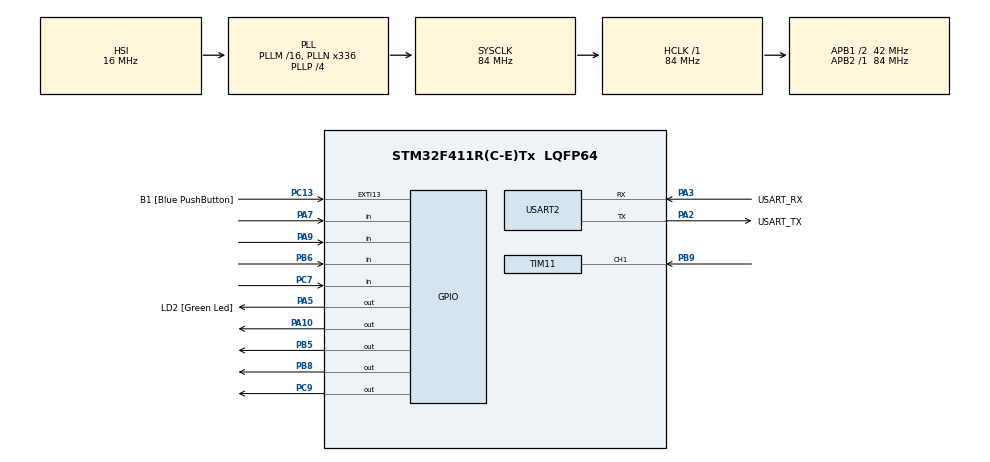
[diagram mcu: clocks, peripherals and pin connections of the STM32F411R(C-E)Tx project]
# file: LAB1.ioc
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Mcu.Family=STM32F4
Mcu.Name=STM32F411R(C-E)Tx
Mcu.Package=LQFP64
NVIC.PriorityGroup=NVIC_PRIORITYGROUP_0
NVIC.TIM2_IRQn=true\:0\:0\:false\:false\:true\:false\:true\:true
NVIC.TimeBase=TIM2_IRQn
NVIC.TimeBaseIP=TIM2
PA10.GPIO_ModeDefaultOutputPP=GPIO_MODE_OUTPUT_OD
PA10.GPIO_PuPd=GPIO_NOPULL
PA10.Signal=GPIO_Output
PA13.GPIO_Label=TMS
PA13.Mode=Serial_Wire
PA13.Signal=SYS_JTMS-SWDIO
PA14.GPIO_Label=TCK
PA14.Mode=Serial_Wire
PA14.Signal=SYS_JTCK-SWCLK
PA2.GPIO_Label=USART_TX
PA2.Mode=Asynchronous
PA2.Signal=USART2_TX
PA3.GPIO_Label=USART_RX
PA3.Mode=Asynchronous
PA3.Signal=USART2_RX
PA5.GPIO_Label=LD2 [Green Led]
PA5.Signal=GPIO_Output
PA7.GPIO_PuPd=GPIO_PULLUP
PA7.Signal=GPIO_Input
PA9.GPIO_PuPd=GPIO_PULLUP
PA9.Signal=GPIO_Input
PB3.Signal=SYS_JTDO-SWO
PB5.GPIO_ModeDefaultOutputPP=GPIO_MODE_OUTPUT_OD
PB5.GPIO_PuPd=GPIO_NOPULL
PB5.Signal=GPIO_Output
PB6.GPIO_PuPd=GPIO_PULLUP
PB6.Signal=GPIO_Input
PB8.GPIO_ModeDefaultOutputPP=GPIO_MODE_OUTPUT_OD
PB8.GPIO_PuPd=GPIO_NOPULL
PB8.Signal=GPIO_Output
PB9.Signal=S_TIM11_CH1
PC13-ANTI_TAMP.GPIO_Label=B1 [Blue PushButton]
PC13-ANTI_TAMP.GPIO_ModeDefaultEXTI=GPIO_MODE_IT_FALLING
PC13-ANTI_TAMP.Signal=GPXTI13
PC14-OSC32_IN.Mode=LSE-External-Oscillator
PC14-OSC32_IN.Signal=RCC_OSC32_IN
PC15-OSC32_OUT.Mode=LSE-External-Oscillator
PC15-OSC32_OUT.Signal=RCC_OSC32_OUT
PC7.GPIO_PuPd=GPIO_PULLUP
PC7.Signal=GPIO_Input
PC9.GPIO_ModeDefaultOutputPP=GPIO_MODE_OUTPUT_OD
PC9.GPIO_PuPd=GPIO_NOPULL
PC9.Signal=GPIO_Output
PH0\ -\ OSC_IN.Mode=HSE-External-Clock-Source
PH0\ -\ OSC_IN.Signal=RCC_OSC_IN
PH1\ -\ OSC_OUT.Mode=HSE-External-Clock-Source
PH1\ -\ OSC_OUT.Signal=RCC_OSC_OUT
ProjectManager.HeapSize=0x200
ProjectManager.StackSize=0x400
ProjectManager.TargetToolchain=STM32CubeIDE
RCC.48MHZClocksFreq_Value=84000000
RCC.AHBFreq_Value=84000000
RCC.APB1CLKDivider=RCC_HCLK_DIV2
RCC.APB1Freq_Value=42000000
RCC.APB1TimFreq_Value=84000000
RCC.APB2Freq_Value=84000000
RCC.APB2TimFreq_Value=84000000
RCC.CortexFreq_Value=84000000
RCC.FLatency-AdvancedSettings=FLASH_LATENCY_2
RCC.HCLKFreq_Value=84000000
RCC.HSE_VALUE=8000000
RCC.HSI_VALUE=16000000
RCC.PLLN=336
RCC.PLLP=RCC_PLLP_DIV4
RCC.RCC_RTC_Clock_Source=RCC_RTCCLKSOURCE_LSI
RCC.RCC_RTC_Clock_SourceVirtual=RCC_RTCCLKSOURCE_LSI
RCC.SYSCLKFreq_VALUE=84000000
RCC.SYSCLKSource=RCC_SYSCLKSOURCE_PLLCLK
RCC.VCOOutputFreq_Value=336000000
SH.S_TIM11_CH1.0=TIM11_CH1,Input_Capture1_from_TI1
TIM11.Channel=TIM_CHANNEL_1
USART2.VirtualMode=VM_ASYNC
VP_SYS_VS_tim2.Mode=TIM2
VP_TIM11_VS_ClockSourceINT.Mode=Enable_Timer
board=NUCLEO-F411RE

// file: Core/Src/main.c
/* USER CODE BEGIN Header */
/**
  ******************************************************************************
  * @file           : main.c
  * @brief          : Main program body
  ******************************************************************************
  * @attention
  *
  * Copyright (c) 2023 STMicroelectronics.
  * All rights reserved.
  *
  * This software is licensed under terms that can be found in the LICENSE file
  * in the root directory of this software component.
  * If no LICENSE file comes with this software, it is provided AS-IS.
  *
  ******************************************************************************
  */
/* USER CODE END Header */
#include "main.h"

TIM_HandleTypeDef htim11;

UART_HandleTypeDef huart2;

/* USER CODE BEGIN PV */

static int b[16];
static int bp[16];

GPIO_PinState HIGH = 1;
GPIO_PinState LOW = 0;

static int b_state_curr,b_state_last;

static uint32_t timestamp = 100;

//fix_init

void   set(int x){switch(x){case 0:HAL_GPIO_WritePin(GPIOA,GPIO_PIN_10,HIGH);break;		//R1
							case 1:HAL_GPIO_WritePin(GPIOC,GPIO_PIN_9 ,HIGH);break;		//R2
							case 2:HAL_GPIO_WritePin(GPIOB,GPIO_PIN_5 ,HIGH);break;		//R3
							case 3:HAL_GPIO_WritePin(GPIOB,GPIO_PIN_8 ,HIGH);break;}	//R4
}

void reset(int x){switch(x){case 0:HAL_GPIO_WritePin(GPIOA,GPIO_PIN_10,LOW);break;		//R1
							case 1:HAL_GPIO_WritePin(GPIOC,GPIO_PIN_9 ,LOW);break;		//R2
							case 2:HAL_GPIO_WritePin(GPIOB,GPIO_PIN_5 ,LOW);break;		//R3
							case 3:HAL_GPIO_WritePin(GPIOB,GPIO_PIN_8 ,LOW);break;}		//R4
}

//fix_end

int get_readButton(){
	for(int i =0;i<16;i++){
		if(b[i] == 0){
			return i;
		}
	}
	return 99;
}

int get_savedButton(){
	for(int i =0;i<16;i++){
		if(bp[i] == 0){
			return i;
		}
	}
	return 99;
}

void readButton(){
	static int x = 0;
	b_state_curr = 0;

	b[(x*4)  ]   = HAL_GPIO_ReadPin(GPIOA,GPIO_PIN_9); //L1
	b[(x*4)+1]   = HAL_GPIO_ReadPin(GPIOC,GPIO_PIN_7); //L2
	b[(x*4)+2]   = HAL_GPIO_ReadPin(GPIOB,GPIO_PIN_6); //L3
	b[(x*4)+3]   = HAL_GPIO_ReadPin(GPIOA,GPIO_PIN_7); //L4

	x++;
	x = x % 4;

	if(get_readButton() != 99){b_state_curr = 1;}

}

void statecheck(){

	  static int state = 0;
	  static int fault = 0;
	  static int faultState = 0;

	  switch(state){
	  case 0:	//non pressed
		  	  HAL_GPIO_WritePin(GPIOA,GPIO_PIN_5,0);
			  if(get_savedButton() == 9){state++;}
			  else if(get_savedButton() == 12){state=0;}
			  else if(get_savedButton() == 99){state=0;}
			  else{state = 99;fault++;faultState=0;}
			  break;
	  case 1:	// 6
			  if(get_savedButton() == 1){state++;}
			  else if(get_savedButton() == 12){state=0;}
			  else if(get_savedButton() == 13){state--;}
			  else if(get_savedButton() == 99){state=1;}
			  else{state = 99;fault++;faultState=1;}
			  break;
	  case 2:	// 64
			  if(get_savedButton() == 10){state++;}
			  else if(get_savedButton() == 12){state=0;}
			  else if(get_savedButton() == 13){state--;}
			  else if(get_savedButton() == 99){state=2;}
			  else{state = 99;fault++;faultState=2;}
			  break;
	  case 3:	// 643
			  if(get_savedButton() == 1){state++;}
			  else if(get_savedButton() == 12){state=0;}
			  else if(get_savedButton() == 13){state--;}
			  else if(get_savedButton() == 99){state=3;}
			  else{state = 99;fault++;faultState=3;}
			  break;
	  case 4:	// 6434
			  if(get_savedButton() == 3){state++;}
			  else if(get_savedButton() == 12){state=0;}
			  else if(get_savedButton() == 13){state--;}
			  else if(get_savedButton() == 99){state=4;}
			  else{state = 99;fault++;faultState=4;}
			  break;
	  case 5:	// 64340
			  if(get_savedButton() == 5){state++;}
			  else if(get_savedButton() == 12){state=0;}
			  else if(get_savedButton() == 13){state--;}
			  else if(get_savedButton() == 99){state=5;}
			  else{state = 99;fault++;faultState=5;}
			  break;
	  case 6:	//643405
			  if(get_savedButton() == 3){state++;}
			  else if(get_savedButton() == 12){state=0;}
			  else if(get_savedButton() == 13){state--;}
			  else if(get_savedButton() == 99){state=6;}
			  else{state = 99;fault++;faultState=6;}
			  break;
	  case 7:	//6434050
			  if(get_savedButton() == 3){state++;}
			  else if(get_savedButton() == 12){state=0;}
			  else if(get_savedButton() == 13){state--;}
			  else if(get_savedButton() == 99){state=7;}
			  else{state = 99;fault++;faultState=7;}
			  break;
	  case 8:	//64340500
			  if(get_savedButton() == 3){state++;}
			  else if(get_savedButton() == 12){state=0;}
			  else if(get_savedButton() == 13){state--;}
			  else if(get_savedButton() == 99){state=8;}
			  else{state = 99;fault++;faultState=8;}
			  break;
	  case 9:	//643405000
			  if(get_savedButton() == 5){state++;}
			  else if(get_savedButton() == 12){state=0;}
			  else if(get_savedButton() == 13){state--;}
			  else if(get_savedButton() == 99){state=9;}
			  else{state = 99;fault++;faultState=9;}
			  break;
	  case 10:	//6434050005
			  if(get_savedButton() == 2){state++;}
			  else if(get_savedButton() == 12){state=0;}
			  else if(get_savedButton() == 13){state--;}
			  else if(get_savedButton() == 99){state=10;}
			  else{state = 99;fault++;faultState=10;}
			  break;
	  case 11:	//64340500051
			  if(get_savedButton() == 15){HAL_GPIO_WritePin(GPIOA,GPIO_PIN_5,1);state++;}
			  else if(get_savedButton() == 12){state=0;}
			  else if(get_savedButton() == 13){state--;}
			  else if(get_savedButton() == 99){state=11;}
			  else{state = 99;fault++;faultState=11;}
			  break;
	  case 12: //64340500051 OK
	  	  if(get_savedButton() == 99){state=12;}
	  	  else if(get_savedButton() == 12){HAL_GPIO_WritePin(GPIOA,GPIO_PIN_5,0);state=0;}
	  	  break;
	  case 99:
		  if(get_savedButton() == 12){state=0;fault=0;}
		  if(get_savedButton() == 13){fault--;}
		  else{fault++;}

		  if(fault == 0){
			  state = faultState;
		  }

		  break;
	  }

}

void saveButton(){
	for(int i=0;i<16;i++){
		bp[i] = b[i];
	}
}
//void b_to_16(){}

/* USER CODE END PV */

void SystemClock_Config(void);
static void MX_GPIO_Init(void);
static void MX_USART2_UART_Init(void);
static void MX_TIM11_Init(void);

int main(void)
{
  /* USER CODE BEGIN 1 */

	static int process = 0;

  /* USER CODE END 1 */

  /* MCU Configuration--------------------------------------------------------*/

  /* Reset of all peripherals, Initializes the Flash interface and the Systick. */
  HAL_Init();

  /* Configure the system clock */
  SystemClock_Config();

  /* Initialize all configured peripherals */
  MX_GPIO_Init();
  MX_USART2_UART_Init();
  MX_TIM11_Init();

  /* Infinite loop */
  /* USER CODE BEGIN WHILE */

  b[100] = 0;
  bp[100] = 0;

  while (1)
  {
	  if(HAL_GetTick()>timestamp){
		  timestamp = HAL_GetTick()+10;

		  switch(process){
		  case 0:
			  reset(0);
			  readButton();
			  set(0);
			  reset(1);
			  process = 1;
			  break;

		  case 1:
		  	  readButton();
		      set(1);
		  	  reset(2);
		  	  process = 2;
		  	  break;

		  case 2:
		  	  readButton();
		      set(2);
		  	  reset(3);
		  	  process = 3;
		  	  break;

	  	  case 3:
	  		  readButton();
	  		  set(3);
	  		  reset(0);

	  		  if(b_state_curr == 1 && b_state_last == 0){
	  			  saveButton();
	  			  statecheck();
	  		  }

	  		  b_state_last = b_state_curr;
	  		  process = 0;
	  		  break;
		  }

	  }
  }

    /* USER CODE END WHILE */

}

void SystemClock_Config(void)
{
  RCC_OscInitTypeDef RCC_OscInitStruct = {0};
  RCC_ClkInitTypeDef RCC_ClkInitStruct = {0};

  /** Configure the main internal regulator output voltage
  */
  __HAL_RCC_PWR_CLK_ENABLE();
  __HAL_PWR_VOLTAGESCALING_CONFIG(PWR_REGULATOR_VOLTAGE_SCALE1);

  /** Initializes the RCC Oscillators according to the specified parameters
  * in the RCC_OscInitTypeDef structure.
  */
  RCC_OscInitStruct.OscillatorType = RCC_OSCILLATORTYPE_HSI|RCC_OSCILLATORTYPE_HSE;
  RCC_OscInitStruct.HSEState = RCC_HSE_BYPASS;
  RCC_OscInitStruct.HSIState = RCC_HSI_ON;
  RCC_OscInitStruct.HSICalibrationValue = RCC_HSICALIBRATION_DEFAULT;
  RCC_OscInitStruct.PLL.PLLState = RCC_PLL_ON;
  RCC_OscInitStruct.PLL.PLLSource = RCC_PLLSOURCE_HSI;
  RCC_OscInitStruct.PLL.PLLM = 16;
  RCC_OscInitStruct.PLL.PLLN = 336;
  RCC_OscInitStruct.PLL.PLLP = RCC_PLLP_DIV4;
  RCC_OscInitStruct.PLL.PLLQ = 4;
  if (HAL_RCC_OscConfig(&RCC_OscInitStruct) != HAL_OK)
  {
    Error_Handler();
  }

  /** Initializes the CPU, AHB and APB buses clocks
  */
  RCC_ClkInitStruct.ClockType = RCC_CLOCKTYPE_HCLK|RCC_CLOCKTYPE_SYSCLK
                              |RCC_CLOCKTYPE_PCLK1|RCC_CLOCKTYPE_PCLK2;
  RCC_ClkInitStruct.SYSCLKSource = RCC_SYSCLKSOURCE_PLLCLK;
  RCC_ClkInitStruct.AHBCLKDivider = RCC_SYSCLK_DIV1;
  RCC_ClkInitStruct.APB1CLKDivider = RCC_HCLK_DIV2;
  RCC_ClkInitStruct.APB2CLKDivider = RCC_HCLK_DIV1;

  if (HAL_RCC_ClockConfig(&RCC_ClkInitStruct, FLASH_LATENCY_2) != HAL_OK)
  {
    Error_Handler();
  }
}

static void MX_TIM11_Init(void)
{

  TIM_IC_InitTypeDef sConfigIC = {0};

  htim11.Instance = TIM11;
  htim11.Init.Prescaler = 0;
  htim11.Init.CounterMode = TIM_COUNTERMODE_UP;
  htim11.Init.Period = 65535;
  htim11.Init.ClockDivision = TIM_CLOCKDIVISION_DIV1;
  htim11.Init.AutoReloadPreload = TIM_AUTORELOAD_PRELOAD_DISABLE;
  if (HAL_TIM_Base_Init(&htim11) != HAL_OK)
  {
    Error_Handler();
  }
  if (HAL_TIM_IC_Init(&htim11) != HAL_OK)
  {
    Error_Handler();
  }
  sConfigIC.ICPolarity = TIM_INPUTCHANNELPOLARITY_RISING;
  sConfigIC.ICSelection = TIM_ICSELECTION_DIRECTTI;
  sConfigIC.ICPrescaler = TIM_ICPSC_DIV1;
  sConfigIC.ICFilter = 0;
  if (HAL_TIM_IC_ConfigChannel(&htim11, &sConfigIC, TIM_CHANNEL_1) != HAL_OK)
  {
    Error_Handler();
  }

}

static void MX_USART2_UART_Init(void)
{

  huart2.Instance = USART2;
  huart2.Init.BaudRate = 115200;
  huart2.Init.WordLength = UART_WORDLENGTH_8B;
  huart2.Init.StopBits = UART_STOPBITS_1;
  huart2.Init.Parity = UART_PARITY_NONE;
  huart2.Init.Mode = UART_MODE_TX_RX;
  huart2.Init.HwFlowCtl = UART_HWCONTROL_NONE;
  huart2.Init.OverSampling = UART_OVERSAMPLING_16;
  if (HAL_UART_Init(&huart2) != HAL_OK)
  {
    Error_Handler();
  }

}

static void MX_GPIO_Init(void)
{
  GPIO_InitTypeDef GPIO_InitStruct = {0};

  /* GPIO Ports Clock Enable */
  __HAL_RCC_GPIOC_CLK_ENABLE();
  __HAL_RCC_GPIOH_CLK_ENABLE();
  __HAL_RCC_GPIOA_CLK_ENABLE();
  __HAL_RCC_GPIOB_CLK_ENABLE();

  /*Configure GPIO pin Output Level */
  HAL_GPIO_WritePin(GPIOA, LD2_Pin|GPIO_PIN_10, GPIO_PIN_RESET);

  /*Configure GPIO pin Output Level */
  HAL_GPIO_WritePin(GPIOC, GPIO_PIN_9, GPIO_PIN_RESET);

  /*Configure GPIO pin Output Level */
  HAL_GPIO_WritePin(GPIOB, GPIO_PIN_5|GPIO_PIN_8, GPIO_PIN_RESET);

  /*Configure GPIO pin : B1_Pin */
  GPIO_InitStruct.Pin = B1_Pin;
  GPIO_InitStruct.Mode = GPIO_MODE_IT_FALLING;
  GPIO_InitStruct.Pull = GPIO_NOPULL;
  HAL_GPIO_Init(B1_GPIO_Port, &GPIO_InitStruct);

  /*Configure GPIO pins : LD2_Pin PA10 */
  GPIO_InitStruct.Pin = LD2_Pin|GPIO_PIN_10;
  GPIO_InitStruct.Mode = GPIO_MODE_OUTPUT_PP;
  GPIO_InitStruct.Pull = GPIO_NOPULL;
  GPIO_InitStruct.Speed = GPIO_SPEED_FREQ_LOW;
  HAL_GPIO_Init(GPIOA, &GPIO_InitStruct);

  /*Configure GPIO pins : PA7 PA9 */
  GPIO_InitStruct.Pin = GPIO_PIN_7|GPIO_PIN_9;
  GPIO_InitStruct.Mode = GPIO_MODE_INPUT;
  GPIO_InitStruct.Pull = GPIO_PULLUP;
  HAL_GPIO_Init(GPIOA, &GPIO_InitStruct);

  /*Configure GPIO pin : PC7 */
  GPIO_InitStruct.Pin = GPIO_PIN_7;
  GPIO_InitStruct.Mode = GPIO_MODE_INPUT;
  GPIO_InitStruct.Pull = GPIO_PULLUP;
  HAL_GPIO_Init(GPIOC, &GPIO_InitStruct);

  /*Configure GPIO pin : PC9 */
  GPIO_InitStruct.Pin = GPIO_PIN_9;
  GPIO_InitStruct.Mode = GPIO_MODE_OUTPUT_PP;
  GPIO_InitStruct.Pull = GPIO_NOPULL;
  GPIO_InitStruct.Speed = GPIO_SPEED_FREQ_LOW;
  HAL_GPIO_Init(GPIOC, &GPIO_InitStruct);

  /*Configure GPIO pins : PB5 PB8 */
  GPIO_InitStruct.Pin = GPIO_PIN_5|GPIO_PIN_8;
  GPIO_InitStruct.Mode = GPIO_MODE_OUTPUT_PP;
  GPIO_InitStruct.Pull = GPIO_NOPULL;
  GPIO_InitStruct.Speed = GPIO_SPEED_FREQ_LOW;
  HAL_GPIO_Init(GPIOB, &GPIO_InitStruct);

  /*Configure GPIO pin : PB6 */
  GPIO_InitStruct.Pin = GPIO_PIN_6;
  GPIO_InitStruct.Mode = GPIO_MODE_INPUT;
  GPIO_InitStruct.Pull = GPIO_PULLUP;
  HAL_GPIO_Init(GPIOB, &GPIO_InitStruct);

}

void HAL_TIM_PeriodElapsedCallback(TIM_HandleTypeDef *htim)
{
  if (htim->Instance == TIM2) {
    HAL_IncTick();
  }
}

void Error_Handler(void)
{
  __disable_irq();
  while (1)
  {
  }
}
